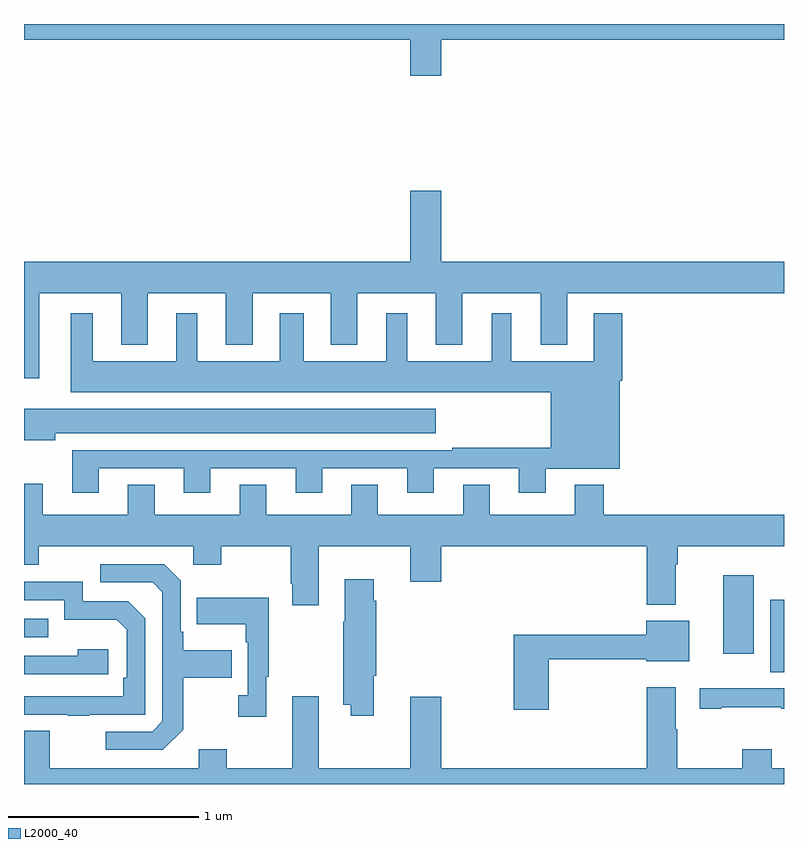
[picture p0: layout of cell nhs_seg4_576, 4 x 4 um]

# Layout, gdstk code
import gdstk
lib = gdstk.Library(unit=1e-6, precision=1e-09)
def R(c, l, rs):  # rectangles x0, y0, x1, y1
    for r in rs: c.add(gdstk.rectangle(r[:2], r[2:], *l))
def P(c, l, *ps):  # polygons
    for p in ps: c.add(gdstk.Polygon(p, *l))
L2000_40 = (2000, 40)

nhs_seg4_576 = lib.new_cell('nhs_seg4_576')
R(nhs_seg4_576, L2000_40, [(142.928,797.488,143,797.869), (142.679,797.586,142.84,797.998), (139,797.673,139.127,797.769)])
P(nhs_seg4_576, L2000_40, [(141.196,800.816),(143,800.816),(143,800.9),(139,800.9),(139,800.816),(141.032,800.816),(141.032,800.628),(141.196,800.628)],
  [(139.081,799.484),(139.511,799.484),(139.511,799.211),(139.651,799.211),(139.651,799.484),(140.063,799.484),(140.063,799.211),(140.203,799.211),(140.203,799.484),(140.615,799.484),(140.615,799.211),(140.755,799.211),(140.755,799.484),(141.167,799.484),(141.167,799.211),(141.307,799.211),(141.307,799.484),(141.719,799.484),(141.719,799.211),(141.859,799.211),(141.859,799.484),(143,799.484),(143,799.648),(141.196,799.648),(141.196,800.023),(141.032,800.023),(141.032,799.648),(139,799.648),(139,799.035),(139.081,799.035)],
  [(139.393,798.561),(139.841,798.561),(139.841,798.432),(139.981,798.432),(139.981,798.561),(140.429,798.561),(140.429,798.432),(140.569,798.432),(140.569,798.561),(141.017,798.561),(141.017,798.432),(141.157,798.432),(141.157,798.561),(141.605,798.561),(141.605,798.432),(141.745,798.432),(141.745,798.56),(142.135,798.56),(142.135,799.022),(142.148,799.022),(142.148,799.378),(141.998,799.378),(141.998,799.126),(141.565,799.126),(141.565,799.378),(141.461,799.378),(141.461,799.126),(141.016,799.126),(141.016,799.378),(140.906,799.378),(140.906,799.126),(140.473,799.126),(140.473,799.378),(140.345,799.378),(140.345,799.126),(139.912,799.126),(139.912,799.378),(139.802,799.378),(139.802,799.126),(139.363,799.126),(139.363,799.378),(139.247,799.378),(139.247,798.962),(141.773,798.962),(141.773,798.67),(141.253,798.67),(141.253,798.657),(139.253,798.657),(139.253,798.432),(139.393,798.432)],
  [(139.165,798.746),(141.166,798.746),(141.166,798.874),(139,798.874),(139,798.71),(139.165,798.71)],
  [(142.277,797.843),(142.429,797.843),(142.429,798.056),(142.442,798.056),(142.442,798.152),(143,798.152),(143,798.316),(142.052,798.316),(142.052,798.475),(141.899,798.475),(141.899,798.316),(141.451,798.316),(141.451,798.476),(141.311,798.476),(141.311,798.316),(140.863,798.316),(140.863,798.476),(140.723,798.476),(140.723,798.316),(140.275,798.316),(140.275,798.476),(140.135,798.476),(140.135,798.316),(139.687,798.316),(139.687,798.476),(139.547,798.476),(139.547,798.316),(139.099,798.316),(139.099,798.481),(139,798.481),(139,798.053),(139.077,798.053),(139.077,798.152),(139.89,798.152),(139.89,798.053),(140.037,798.053),(140.037,798.152),(140.404,798.152),(140.404,797.953),(140.411,797.953),(140.411,797.841),(140.551,797.841),(140.551,798.152),(141.032,798.152),(141.032,797.964),(141.196,797.964),(141.196,798.152),(142.277,798.152)],
  [(139.837,797.185),(139.837,797.458),(140.093,797.458),(140.093,797.605),(139.837,797.605),(139.837,797.701),(139.824,797.701),(139.824,797.97),(139.737,798.057),(139.401,798.057),(139.401,797.961),(139.677,797.961),(139.728,797.91),(139.728,797.229),(139.674,797.175),(139.431,797.175),(139.431,797.079),(139.731,797.079)],
  [(140.842,797.471),(140.855,797.471),(140.855,797.864),(140.842,797.864),(140.842,797.977),(140.687,797.977),(140.687,797.753),(140.68,797.753),(140.68,797.318),(140.72,797.318),(140.72,797.259),(140.842,797.259)],
  [(139.343,797.265),(139.638,797.265),(139.638,797.772),(139.548,797.862),(139.308,797.862),(139.308,797.964),(139,797.964),(139,797.868),(139.212,797.868),(139.212,797.765),(139.489,797.765),(139.542,797.712),(139.542,797.458),(139.522,797.458),(139.522,797.361),(139,797.361),(139,797.265),(139.231,797.265),(139.231,797.26),(139.343,797.26)],
  [(140.275,797.465),(140.287,797.465),(140.287,797.881),(139.909,797.881),(139.909,797.741),(140.166,797.741),(140.166,797.645),(140.178,797.645),(140.178,797.366),(140.127,797.366),(140.127,797.253),(140.275,797.253)],
  [(141.761,797.557),(142.274,797.557),(142.274,797.546),(142.501,797.546),(142.501,797.758),(142.274,797.758),(142.274,797.686),(141.578,797.686),(141.578,797.292),(141.761,797.292)],
  [(139.444,797.608),(139.283,797.608),(139.283,797.574),(139,797.574),(139,797.478),(139.444,797.478)],
  [(143,796.984),(142.935,796.984),(142.935,797.083),(142.78,797.083),(142.78,796.984),(142.437,796.984),(142.437,797.189),(142.429,797.189),(142.429,797.41),(142.277,797.41),(142.277,796.984),(141.196,796.984),(141.196,797.359),(141.032,797.359),(141.032,796.984),(140.551,796.984),(140.551,797.362),(140.411,797.362),(140.411,796.984),(140.067,796.984),(140.067,797.083),(139.919,797.083),(139.919,796.984),(139.135,796.984),(139.135,797.179),(139,797.179),(139,796.9),(143,796.9)],
  [(142.669,797.305),(142.985,797.305),(142.985,797.295),(143,797.295),(143,797.403),(142.832,797.403),(142.832,797.405),(142.557,797.405),(142.557,797.295),(142.669,797.295)])

lib.write_gds('nhs_seg4_576.gds')
